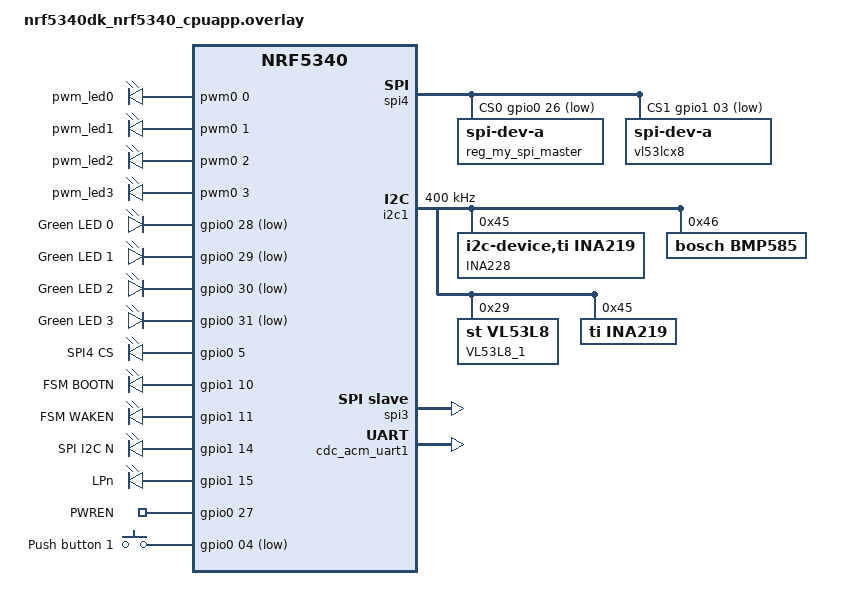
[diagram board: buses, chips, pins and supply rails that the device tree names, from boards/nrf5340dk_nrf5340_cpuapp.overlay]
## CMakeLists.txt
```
#
# Copyright (c) 2018 Nordic Semiconductor
#
# SPDX-License-Identifier: LicenseRef-Nordic-5-Clause
#
cmake_minimum_required(VERSION 3.20.0)

find_package(Zephyr REQUIRED HINTS $ENV{ZEPHYR_BASE})
project(NONE)

# NORDIC SDK APP START
target_sources(app PRIVATE
  src/main.c
)
target_sources(app PRIVATE src/drivers/PWM/pwm_local.c)
target_sources(app PRIVATE src/drivers/SPIM/spim_local.c)
target_sources(app PRIVATE src/drivers/TWIM/twim_local.c)
target_sources(app PRIVATE src/drivers/TWIM/mcu.c)
target_sources(app PRIVATE src/drivers/GPIO_INPUT/gpio_input_local.c)

# Include sensors 
#target_sources(app PRIVATE src/sensors/IMU_CEVA_FSM300/ceva_fsm300.c)
target_sources(app PRIVATE src/commands.c)
target_sources(app PRIVATE src/sensors/IMU_CEVA_FSM300/ceva_fsmSH2.c)
#target_sources(app PRIVATE src/sensors/IMU_CEVA_FSM300/cal_app.c)
#target_sources(app PRIVATE src/sensors/IMU_CEVA_FSM300/demo_app.c)
# Include SH2
#target_sources(app PRIVATE src/sensors/IMU_CEVA_FSM300/sh2/shtp.c)
#target_sources(app PRIVATE src/sensors/IMU_CEVA_FSM300/sh2/sh2.c)
target_sources(app PRIVATE src/sensors/IMU_CEVA_FSM300/sh2/sh2_util.c)
target_sources(app PRIVATE src/sensors/IMU_CEVA_FSM300/sh2/sh2_SensorValue.c)

#Include Power Meter
target_sources(app PRIVATE src/sensors/PowerMeter_TI_INA228/INA228.c)
target_sources(app PRIVATE src/sensors/PowerMeter_TI_INA228/config.c)

#Include Absolute Barometric Pressure Sensor
target_sources(app PRIVATE src/sensors/AbsoluteBarometricPressure_BMP585/common.c)
target_sources(app PRIVATE src/sensors/AbsoluteBarometricPressure_BMP585/BMP5-Sensor-API/bmp5.c)
target_sources(app PRIVATE src/sensors/AbsoluteBarometricPressure_BMP585/read_sensor_data_normal_mode.c)

#Include TOF sensor
target_sources(app PRIVATE src/sensors/TOF_ST_VL53L8/tof_vl53l8.c)
target_sources(app PRIVATE src/sensors/TOF_ST_VL53L8/VL53L8CX_ULD_driver_1.2.1/Platform/platform.c)

#target_sources(app PRIVATE src/sensors/TOF_ST_VL53L8/VL53LMZ_ULD_v2.0.10/VL53LMZ_ULD_API/src/vl53lmz_api.c)
#target_sources(app PRIVATE src/sensors/TOF_ST_VL53L8/VL53LMZ_ULD_v2.0.10/VL53LMZ_ULD_API/src/vl53lmz_plugin_cnh.c)
#target_sources(app PRIVATE src/sensors/TOF_ST_VL53L8/VL53LMZ_ULD_v2.0.10/VL53LMZ_ULD_API/src/vl53lmz_plugin_detection_thresholds.c)
#target_sources(app PRIVATE src/sensors/TOF_ST_VL53L8/VL53LMZ_ULD_v2.0.10/VL53LMZ_ULD_API/src/vl53lmz_plugin_motion_indicator.c)
#target_sources(app PRIVATE src/sensors/TOF_ST_VL53L8/VL53LMZ_ULD_v2.0.10/VL53LMZ_ULD_API/src/vl53lmz_plugin_xtalk.c)
#target_sources(app PRIVATE src/sensors/TOF_ST_VL53L8/Example_11_motion_indicator_with_detection_thresholds.c)

target_sources(app PRIVATE src/sensors/TOF_ST_VL53L8/VL53L8CX_ULD_driver_1.2.1/VL53L8CX_ULD_API/src/vl53l8cx_api.c)
target_sources(app PRIVATE src/sensors/TOF_ST_VL53L8/VL53L8CX_ULD_driver_1.2.1/VL53L8CX_ULD_API/src/vl53l8cx_plugin_detection_thresholds.c)
target_sources(app PRIVATE src/sensors/TOF_ST_VL53L8/VL53L8CX_ULD_driver_1.2.1/VL53L8CX_ULD_API/src/vl53l8cx_plugin_motion_indicator.c)
target_sources(app PRIVATE src/sensors/TOF_ST_VL53L8/VL53L8CX_ULD_driver_1.2.1/VL53L8CX_ULD_API/src/vl53l8cx_plugin_xtalk.c)
#target_sources(app PRIVATE src/sensors/TOF_ST_VL53L8/Example_11_motion_indicator_with_detection_thresholds_VL53L8CX.c)
#target_sources(app PRIVATE src/sensors/TOF_ST_VL53L8/Example_1_ranging_basic.c)

# Include UART ASYNC API adapter
target_sources_ifdef(CONFIG_BT_NUS_UART_ASYNC_ADAPTER app PRIVATE
  src/uart_async_adapter.c
)

# NORDIC SDK APP END

zephyr_library_include_directories(.)
```

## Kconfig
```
#
# Copyright (c) 2018 Nordic Semiconductor
#
# SPDX-License-Identifier: LicenseRef-Nordic-5-Clause
#

source "Kconfig.zephyr"

menu "Nordic UART BLE GATT service sample"

config BT_NUS_THREAD_STACK_SIZE
	int "Thread stack size"
	default 1024
	help
	  Stack size used in each of the two threads

config BT_NUS_UART_BUFFER_SIZE
	int "UART payload buffer element size"
	default 40
	help
	  Size of the payload buffer in each RX and TX FIFO element

config BT_NUS_SECURITY_ENABLED
	bool "Enable security"
	default y
	select BT_SMP
	help
	  "Enable BLE security for the UART service"

config BT_NUS_UART_RX_WAIT_TIME
	int "Timeout for UART RX complete event"
	default 50
	help
	  Wait for RX complete event time in milliseconds

config BT_NUS_UART_ASYNC_ADAPTER
	bool "Enable UART async adapter"
	select SERIAL_SUPPORT_ASYNC
	help
	  Enables asynchronous adapter for UART drives that supports only
	  IRQ interface.

endmenu
```

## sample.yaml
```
sample:
  description: Bluetooth Low Energy UART service sample
  name: BLE UART service
tests:
  sample.bluetooth.peripheral_uart:
    build_only: true
    platform_allow: nrf52dk_nrf52832 nrf52833dk_nrf52833 nrf52840dk_nrf52840
      nrf5340dk_nrf5340_cpuapp nrf5340dk_nrf5340_cpuapp_ns thingy53_nrf5340_cpuapp
      thingy53_nrf5340_cpuapp_ns nrf21540dk_nrf52840
    integration_platforms:
      - nrf52dk_nrf52832
      - nrf52833dk_nrf52833
      - nrf52840dk_nrf52840
      - nrf5340dk_nrf5340_cpuapp
      - nrf5340dk_nrf5340_cpuapp_ns
      - thingy53_nrf5340_cpuapp
      - thingy53_nrf5340_cpuapp_ns
      - nrf21540dk_nrf52840
    tags: bluetooth ci_build
  sample.bluetooth.peripheral_uart_cdc:
    build_only: true
    extra_args: OVERLAY_CONFIG=prj_cdc.conf DTC_OVERLAY_FILE="usb.overlay"
    integration_platforms:
      - nrf52840dk_nrf52840
      - nrf52833dk_nrf52833
    platform_allow: nrf52840dk_nrf52840 nrf52833dk_nrf52833
    tags: bluetooth ci_build
  sample.bluetooth.peripheral_uart_minimal:
    build_only: true
    extra_args: OVERLAY_CONFIG=prj_minimal.conf
    integration_platforms:
      - nrf52dk_nrf52810
      - nrf52840dk_nrf52811
      - nrf52833dk_nrf52820
    platform_allow: nrf52dk_nrf52810 nrf52840dk_nrf52811 nrf52833dk_nrf52820
    tags: bluetooth ci_build
  sample.bluetooth.peripheral_uart_ble_rpc:
    build_only: true
    extra_configs:
      - CONFIG_BT_RPC_STACK=y
    integration_platforms:
      - nrf5340dk_nrf5340_cpuapp
    platform_allow: nrf5340dk_nrf5340_cpuapp
    tags: bluetooth ci_build
  sample.bluetooth.peripheral_uart.security_disabled:
    build_only: true
    platform_allow: nrf52dk_nrf52832 nrf52833dk_nrf52833 nrf52840dk_nrf52840
      nrf5340dk_nrf5340_cpuapp nrf5340dk_nrf5340_cpuapp_ns thingy53_nrf5340_cpuapp
      thingy53_nrf5340_cpuapp_ns nrf21540dk_nrf52840
    integration_platforms:
      - nrf52840dk_nrf52840
    tags: bluetooth ci_build
    extra_configs:
      - CONFIG_BT_NUS_SECURITY_ENABLED=n
```

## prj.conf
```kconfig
#
# Copyright (c) 2018 Nordic Semiconductor
#
# SPDX-License-Identifier: LicenseRef-Nordic-5-Clause
#

# Enable the UART driver
CONFIG_UART_ASYNC_API=y
CONFIG_NRFX_UARTE0=y
CONFIG_SERIAL=y

CONFIG_GPIO=y

# Make sure printk is printing to the UART console
CONFIG_CONSOLE=y
CONFIG_UART_CONSOLE=y

#CONFIG_HEAP_MEM_POOL_SIZE=32768
CONFIG_HEAP_MEM_POOL_SIZE=65536

CONFIG_BT=y
CONFIG_BT_PERIPHERAL=y
CONFIG_BT_DEVICE_NAME="Nordic_UART_Service"
CONFIG_BT_DEVICE_APPEARANCE=833
CONFIG_BT_MAX_CONN=1
CONFIG_BT_MAX_PAIRED=1

# Enable the NUS service
CONFIG_BT_NUS=y

# Enable bonding
CONFIG_BT_SETTINGS=y
CONFIG_FLASH=y
CONFIG_FLASH_PAGE_LAYOUT=y
CONFIG_FLASH_MAP=y
CONFIG_NVS=y
CONFIG_SETTINGS=y

# Enable DK LED and Buttons library
CONFIG_DK_LIBRARY=y

# This example requires more workqueue stack
CONFIG_SYSTEM_WORKQUEUE_STACK_SIZE=32768
CONFIG_MAIN_STACK_SIZE=32768

# Config logger
CONFIG_LOG=y
CONFIG_USE_SEGGER_RTT=y
CONFIG_LOG_BACKEND_RTT=y
CONFIG_LOG_BACKEND_UART=y
CONFIG_LOG_PRINTK=n

CONFIG_ASSERT=n

# drivers
CONFIG_PWM=y
CONFIG_I2C=y
CONFIG_NRFX_TWIM1=y
CONFIG_I2C_NRFX_TRANSFER_TIMEOUT=100000
CONFIG_SENSOR=y


CONFIG_PWM_LOG_LEVEL_DBG=y

#SPI
CONFIG_SPI=y
CONFIG_NRFX_SPIM3=y
CONFIG_NRFX_SPIM4=y
CONFIG_SPI_ASYNC=y
CONFIG_SPI_SLAVE=y

#Floating point print
CONFIG_NEWLIB_LIBC=y
CONFIG_NEWLIB_LIBC_FLOAT_PRINTF=y

CONFIG_TIMESLICING=y
CONFIG_TIMESLICE_SIZE=10
CONFIG_TIMESLICE_PRIORITY=0

#CONFIG_FPU=y
#CONFIG_FPU_SHARING=y


CONFIG_DEBUG_COREDUMP=y
CONFIG_DEBUG_COREDUMP_BACKEND_LOGGING=y
```

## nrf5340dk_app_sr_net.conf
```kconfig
#
# Copyright (c) 2022 Nordic Semiconductor
#
# SPDX-License-Identifier: LicenseRef-Nordic-5-Clause
#

CONFIG_MCUBOOT_IMAGE_VERSION="1.0.0+0"
CONFIG_BOOTLOADER_MCUBOOT=y
CONFIG_NRF53_UPGRADE_NETWORK_CORE=y
CONFIG_ADD_MCUBOOT_MEDIATE_SIM_FLASH_DTS=y
```

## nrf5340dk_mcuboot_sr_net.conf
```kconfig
#
# Copyright (c) 2022 Nordic Semiconductor
#
# SPDX-License-Identifier: LicenseRef-Nordic-5-Clause
#

CONFIG_MAIN_STACK_SIZE=10240
# Flash
CONFIG_FLASH=y

# MCUBoot serial
CONFIG_MCUBOOT_SERIAL=y
CONFIG_MCUBOOT_SERIAL_DIRECT_IMAGE_UPLOAD=y

# Decrease memory footprint
CONFIG_CBPRINTF_NANO=y
CONFIG_TIMESLICING=n
CONFIG_BOOT_BANNER=n
CONFIG_CONSOLE=n
CONFIG_CONSOLE_HANDLER=n
CONFIG_UART_CONSOLE=n
CONFIG_RTT_CONSOLE=n
CONFIG_USE_SEGGER_RTT=n
CONFIG_LOG=n
CONFIG_RESET_ON_FATAL_ERROR=n

# The following configurations are required to support serial recovery of the
# network image
CONFIG_PCD_APP=y

CONFIG_FLASH_SIMULATOR=y
CONFIG_FLASH_SIMULATOR_DOUBLE_WRITES=y
CONFIG_FLASH_SIMULATOR_STATS=n

CONFIG_BOOT_IMAGE_ACCESS_HOOKS=y
CONFIG_NRF53_RECOVERY_NETWORK_CORE=y

CONFIG_MCUBOOT_INDICATION_LED=y
```

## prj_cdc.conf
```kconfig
#
# Copyright (c) 2021 Nordic Semiconductor
#
# SPDX-License-Identifier: LicenseRef-Nordic-5-Clause
#

# Enable the UART driver
CONFIG_UART_LINE_CTRL=y
CONFIG_UART_INTERRUPT_DRIVEN=y
CONFIG_BT_NUS_UART_ASYNC_ADAPTER=y
CONFIG_USB_DEVICE_STACK=y
CONFIG_USB_DEVICE_REMOTE_WAKEUP=n
CONFIG_USB_CDC_ACM=y

# Disable the UARTE0 enabled in default project configuration
CONFIG_NRFX_UARTE0=n
CONFIG_UART_NRFX=n
```

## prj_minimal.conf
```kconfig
#
# Copyright (c) 2021 Nordic Semiconductor
#
# SPDX-License-Identifier: LicenseRef-Nordic-5-Clause
#

# Enable the UART driver
CONFIG_UART_ASYNC_API=y
CONFIG_NRFX_UARTE0=y
CONFIG_SERIAL=y

CONFIG_HEAP_MEM_POOL_SIZE=2048

CONFIG_BT=y
CONFIG_BT_PERIPHERAL=y
CONFIG_BT_DEVICE_NAME="Nordic_UART_Service"
CONFIG_BT_DEVICE_APPEARANCE=833
CONFIG_BT_MAX_CONN=1
CONFIG_BT_MAX_PAIRED=1

# Enable the NUS service
CONFIG_BT_NUS=y

# Enable bonding
CONFIG_BT_SETTINGS=y
CONFIG_FLASH=y
CONFIG_FLASH_PAGE_LAYOUT=y
CONFIG_FLASH_MAP=y
CONFIG_NVS=y
CONFIG_SETTINGS=y

# Enable DK LED and Buttons library
CONFIG_DK_LIBRARY=y

# Drivers and peripherals
CONFIG_I2C=n
CONFIG_WATCHDOG=n
CONFIG_PINMUX=n
CONFIG_SPI=n
CONFIG_GPIO=n

# Power management
CONFIG_PM=n

# Interrupts
CONFIG_DYNAMIC_INTERRUPTS=n
CONFIG_IRQ_OFFLOAD=n

# Memory protection
CONFIG_THREAD_STACK_INFO=n
CONFIG_THREAD_CUSTOM_DATA=n
CONFIG_FPU=n

# Boot
CONFIG_BOOT_BANNER=n
CONFIG_BOOT_DELAY=0

# Console
CONFIG_CONSOLE=n
CONFIG_UART_CONSOLE=n
CONFIG_STDOUT_CONSOLE=n
CONFIG_PRINTK=n
CONFIG_EARLY_CONSOLE=n

# Build
CONFIG_SIZE_OPTIMIZATIONS=y

# ARM
CONFIG_ARM_MPU=n

# In order to correctly tune the stack sizes for the threads the following
# Configurations can enabled to print the current use:
#CONFIG_THREAD_NAME=y
#CONFIG_THREAD_ANALYZER=y
#CONFIG_THREAD_ANALYZER_AUTO=y
#CONFIG_THREAD_ANALYZER_RUN_UNLOCKED=y
#CONFIG_THREAD_ANALYZER_USE_PRINTK=y
#CONFIG_CONSOLE=y
#CONFIG_UART_CONSOLE=y
#CONFIG_SERIAL=y
#CONFIG_PRINTK=y

# Example output of thread analyzer
#SDC RX              : unused 800 usage 224 / 1024 (21 %)
#BT ECC              : unused 216 usage 888 / 1104 (80 %)
#BT RX               : unused 1736 usage 464 / 2200 (21 %)
#BT TX               : unused 1008 usage 528 / 1536 (34 %)
#ble_write_thread_id : unused 688 usage 336 / 1024 (32 %)
#sysworkq            : unused 1912 usage 136 / 2048 (6 %)
#MPSL signal         : unused 928 usage 96 / 1024 (9 %)
#idle 00             : unused 224 usage 96 / 320 (30 %)
#main                : unused 568 usage 456 / 1024 (44 %)
CONFIG_BT_RX_STACK_SIZE=1024
CONFIG_BT_HCI_TX_STACK_SIZE_WITH_PROMPT=y
CONFIG_BT_HCI_TX_STACK_SIZE=640
CONFIG_SYSTEM_WORKQUEUE_STACK_SIZE=512
CONFIG_MPSL_WORK_STACK_SIZE=256
CONFIG_MAIN_STACK_SIZE=640
CONFIG_IDLE_STACK_SIZE=128
CONFIG_ISR_STACK_SIZE=1024
CONFIG_BT_NUS_THREAD_STACK_SIZE=512

# Disable features not needed
CONFIG_TIMESLICING=n
CONFIG_MINIMAL_LIBC_MALLOC=n
CONFIG_LOG=n
CONFIG_ASSERT=n

# Disable Bluetooth features not needed
CONFIG_BT_DEBUG_NONE=y
CONFIG_BT_ASSERT=n
CONFIG_BT_DATA_LEN_UPDATE=n
CONFIG_BT_PHY_UPDATE=n
CONFIG_BT_GATT_CACHING=n
CONFIG_BT_GATT_SERVICE_CHANGED=n
CONFIG_BT_GAP_PERIPHERAL_PREF_PARAMS=n
CONFIG_BT_SETTINGS_CCC_LAZY_LOADING=y
CONFIG_BT_HCI_VS_EXT=n

# Disable Bluetooth controller features not needed
CONFIG_BT_CTLR_PRIVACY=n
CONFIG_BT_CTLR_PHY_2M=n

# Reduce Bluetooth buffers
CONFIG_BT_BUF_EVT_DISCARDABLE_COUNT=1
CONFIG_BT_BUF_EVT_DISCARDABLE_SIZE=43
CONFIG_BT_BUF_EVT_RX_COUNT=2

CONFIG_BT_CONN_TX_MAX=2
CONFIG_BT_L2CAP_TX_BUF_COUNT=2
CONFIG_BT_CTLR_RX_BUFFERS=1
CONFIG_BT_BUF_ACL_TX_COUNT=3
CONFIG_BT_BUF_ACL_TX_SIZE=27
```

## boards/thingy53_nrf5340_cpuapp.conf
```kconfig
#
# Copyright (c) 2021 Nordic Semiconductor ASA
#
# SPDX-License-Identifier: LicenseRef-Nordic-5-Clause
#
################################################################################
# Application overlay - Thingy:53 DFU

CONFIG_NCS_SAMPLE_MCUMGR_BT_OTA_DFU=y
CONFIG_MCUBOOT_IMAGE_VERSION="2.3.0+0"

CONFIG_SYSTEM_WORKQUEUE_STACK_SIZE=4096

################################################################################
# Configure USB CDC ACM

CONFIG_USB_DEVICE_PRODUCT="Thingy:53 Nordic UART Service sample"
CONFIG_USB_DEVICE_PID=0x530E
CONFIG_USB_COMPOSITE_DEVICE=y

# Enable back logging over UART as this sample config uses only RTT by default
CONFIG_LOG_BACKEND_UART=y

CONFIG_BT_NUS_UART_ASYNC_ADAPTER=y
CONFIG_UART_INTERRUPT_DRIVEN=y

# Disable the UARTE0 enabled in default project configuration
CONFIG_NRFX_UARTE0=n
CONFIG_UART_NRFX=n
```

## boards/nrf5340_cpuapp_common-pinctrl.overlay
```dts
&pinctrl {
	pwm0_default: pwm0_default {
		group1 {
			psels = <NRF_PSEL(PWM_OUT0, 1, 6)>,
					<NRF_PSEL(PWM_OUT1, 1, 7)>,
					<NRF_PSEL(PWM_OUT2, 1, 8)>,
					<NRF_PSEL(PWM_OUT3, 1, 9)>;
		};
	};

	pwm0_sleep: pwm0_sleep {
		group1 {
			psels = <NRF_PSEL(PWM_OUT0, 1, 6)>,
					<NRF_PSEL(PWM_OUT1, 1, 7)>,
					<NRF_PSEL(PWM_OUT2, 1, 8)>,
					<NRF_PSEL(PWM_OUT3, 1, 9)>;  
			low-power-enable;
		};
	};
	spi4_default: spi4_default {
		group1 {
			psels = <NRF_PSEL(SPIM_SCK, 1, 15)>,
				<NRF_PSEL(SPIM_MISO, 1, 14)>,
				<NRF_PSEL(SPIM_MOSI, 1, 13)>;
		};
	};

	spi4_sleep: spi4_sleep {
		group1 {
			psels = <NRF_PSEL(SPIM_SCK, 1, 15)>,
				<NRF_PSEL(SPIM_MISO, 1, 14)>,
				<NRF_PSEL(SPIM_MOSI, 1, 13)>;
			low-power-enable;
		};
	};

	spi_master_default: spi_master_default {
		group1 {
			psels = <NRF_PSEL(SPIM_SCK, 0, 6)>,
					<NRF_PSEL(SPIM_MOSI, 0, 7)>,
					<NRF_PSEL(SPIM_MISO, 0, 25)>;
		};
	};

	spi_master_sleep: spi_master_sleep {
		group1 {
			psels = <NRF_PSEL(SPIM_SCK, 0, 6)>,
					<NRF_PSEL(SPIM_MOSI, 0, 7)>,
					<NRF_PSEL(SPIM_MISO, 0, 25)>;
			low-power-enable;
		};
	};

	spi_slave_default: spi_slave_default {
		group1 {
			psels = <NRF_PSEL(SPIS_SCK, 1, 5)>,
					<NRF_PSEL(SPIS_MOSI, 1, 4)>,
					<NRF_PSEL(SPIS_MISO, 1, 1)>,
					<NRF_PSEL(SPIS_CSN, 1, 0)>;
		};
	};

	spi_slave_sleep: spi_slave_sleep {
		group1 {
			psels = <NRF_PSEL(SPIS_SCK, 1, 5)>,
					<NRF_PSEL(SPIS_MOSI, 1, 4)>,
					<NRF_PSEL(SPIS_MISO, 1, 1)>,
					<NRF_PSEL(SPIS_CSN, 1, 0)>;
			low-power-enable;
		};
	};

	i2c1_default {
		group1 {
			psels = <NRF_PSEL(TWIM_SCL, 1, 12)>,
					<NRF_PSEL(TWIM_SDA, 1, 13)>;
		};
	};
};
```

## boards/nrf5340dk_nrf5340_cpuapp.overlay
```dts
/*
 * Copyright (c) 2019-2020 Nordic Semiconductor ASA
 *
 * SPDX-License-Identifier: Apache-2.0
 */
 #include "nrf5340_cpuapp_common-pinctrl.overlay"

/ {
     pwmleds {
         compatible = "pwm-leds";
         pwm_led0: pwm_led_0 {
             pwms = <&pwm0 0 PWM_MSEC(20) PWM_POLARITY_NORMAL>;
         };
         pwm_led1: pwm_led_1 {
             pwms = <&pwm0 1 PWM_MSEC(20) PWM_POLARITY_NORMAL>;
         };
         pwm_led2: pwm_led_2 {
             pwms = <&pwm0 2 PWM_MSEC(20) PWM_POLARITY_NORMAL>;
         };
         pwm_led3: pwm_led_3 {
             pwms = <&pwm0 3 PWM_MSEC(20) PWM_POLARITY_NORMAL>;
         };
     };

	leds {
		compatible = "gpio-leds";
		led0: led_0 {
			gpios = <&gpio0 28 GPIO_ACTIVE_LOW>;
			label = "Green LED 0";
		};
		led1: led_1 {
			gpios = <&gpio0 29 GPIO_ACTIVE_LOW>;
			label = "Green LED 1";
		};
		led2: led_2 {
			gpios = <&gpio0 30 GPIO_ACTIVE_LOW>;
			label = "Green LED 2";
		};
		led3: led_3 {
			gpios = <&gpio0 31 GPIO_ACTIVE_LOW>;
			label = "Green LED 3";
		};
	};

    cs {
		compatible = "gpio-leds";
        spi4_cs: spi4_cs {
            gpios = <&gpio0 5 GPIO_ACTIVE_HIGH>;	/* D9 */
            label = "SPI4 CS";
        };
    };

	bootn {
		compatible = "gpio-leds";
		fsmbootn: fsmbootn {
			gpios = <&gpio1 10 GPIO_ACTIVE_HIGH>;	/* D8 */
			label = "FSM BOOTN";
		};
	};

	waken {
		compatible = "gpio-leds";
		fsmwaken: fsmwaken {
			gpios = <&gpio1 11 GPIO_ACTIVE_HIGH>;	/* D7 */
			label = "FSM WAKEN";
		};
	};

	spi_i2c_n {
		compatible = "gpio-leds";
		spi_i2c_n: spi_i2c_n {
			gpios = <&gpio1 14 GPIO_ACTIVE_HIGH>;	/* D6 */
			label = "SPI I2C N";
		};
	};

	LPn {
		compatible = "gpio-leds";
		LPn: LPn {
			gpios = <&gpio1 15 GPIO_ACTIVE_HIGH>;	/* D5 */
			label = "LPn";
		};
	};

	pwren {
		compatible = "gpio-leds";
		pwren: pwren {
			gpios = <&gpio0 27 GPIO_ACTIVE_HIGH>;	/* D4 */
			label = "PWREN";
		};
	};
    
    buttons {
		compatible = "gpio-keys";
		button0: button_0 {
			gpios = <&gpio0 04 (GPIO_PULL_UP | GPIO_ACTIVE_LOW)>;
			label = "Push button 1";
        };
    };

    chosen {
		nordic,nus-uart = &uart0;
	};
    
     aliases {
        pwm-led0 = &pwm_led0;
        pwm-led1 = &pwm_led1;
        pwm-led2 = &pwm_led2;
        pwm-led3 = &pwm_led3;
        spi4-cs = &spi4_cs;
		fsmrstn = &spi4_cs;
		fsmbootn = &fsmbootn;
		fsmwaken = &fsmwaken;
		sw0 = &button0;
        led2 = &led2;
		spii2cn = &spi_i2c_n;
		lpn = &LPn;
		pwren = &pwren;
     };

};

arduino_spi: &spi4 {
	compatible = "nordic,nrf-spim";
	status = "okay";
	//cs-gpios = <&arduino_header 16 GPIO_ACTIVE_LOW>; /* D10 */
	cs-gpios = <&arduino_header 14 GPIO_ACTIVE_LOW>; /* D10 */
	pinctrl-0 = <&spi4_default>;
	pinctrl-1 = <&spi4_sleep>;
	pinctrl-names = "default", "sleep";
};
/*
&i2c1 {  
    clock-frequency = <I2C_BITRATE_STANDARD>;
    mysensor: mysensor@4a{
        compatible = "i2c-device";
        status = "okay";
        reg = < 0x4a >;
    };
};
*/
&i2c1 {
	status = "okay";
    compatible = "nordic,nrf-twim";
	clock-frequency = <I2C_BITRATE_FAST>;
    pinctrl-0 = <&i2c1_default>;

	ina228:ina228@45 {
		status = "okay";
		compatible = "i2c-device,ti,ina219";
		reg = <0x45>;
		brng = <0>;
		pg = <0>;
		sadc = <13>;
		badc = <13>;
		shunt-milliohm = <100>;
		lsb-microamp = <10>;
		label = "INA228";
	};

	bmp585: bmp585@46 {
		status = "okay";
		compatible = "bosch,bmp585";
		reg = <0x46>;
		label = "BMP585";
	};
	
	vl53l8_1: vl53l8_1@29 {
		status = "okay";
		compatible = "st,vl53l8";
		reg = <0x29>;
		label = "VL53L8_1";
		//scl-timeout-us = <100000000>;
	};
	
	ina219: ina219@45 {
		status = "okay";
		compatible = "ti,ina219";
		reg = <0x45>;
		brng = <0>;
		pg = <0>;
		sadc = <13>;
		badc = <13>;
		shunt-milliohm = <100>;
		lsb-microamp = <10>;
		label = "INA219";
	};
};



my_spi_master: &spi4 {
	compatible = "nordic,nrf-spim";
	status = "okay";
	pinctrl-0 = <&spi_master_default>;
	pinctrl-1 = <&spi_master_sleep>;
	pinctrl-names = "default", "sleep";
	cs-gpios = <&gpio0 26 GPIO_ACTIVE_LOW>, <&gpio1 03 GPIO_ACTIVE_LOW >;
	reg_my_spi_master:  spi-dev-a@0 {
		reg = <0>;
	};
	vl53lcx8:  spi-dev-a@1 {
		reg = <1>;
	};
};

my_spi_slave: &spi3 {
	compatible = "nordic,nrf-spis";
	status = "okay";
	pinctrl-0 = <&spi_slave_default>;
	pinctrl-1 = <&spi_slave_sleep>;
	pinctrl-names = "default", "sleep";
	def-char = <0x00>;
};

&zephyr_udc0 {
	cdc_acm_uart1: cdc_acm_uart1 {
		compatible = "zephyr,cdc-acm-uart";
	};
};

/*
@spi4 {
    mysensor: mysensor@4a {
        compatible = "my,sensor";
        reg = <0x4a>;
        spi-max-frequency = <1000000>;
        label="mysensor";
    };
};
*/
```

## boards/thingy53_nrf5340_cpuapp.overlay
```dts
/*
 * Copyright (c) 2021 Nordic Semiconductor ASA
 *
 * SPDX-License-Identifier: LicenseRef-Nordic-5-Clause
 */

/ {
	chosen {
		nordic,nus-uart = &cdc_acm_uart1;
	};
};

&zephyr_udc0 {
	cdc_acm_uart1: cdc_acm_uart1 {
		compatible = "zephyr,cdc-acm-uart";
	};
};
```

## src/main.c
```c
/*
 * Copyright (c) 2018 Nordic Semiconductor ASA
 *
 * SPDX-License-Identifier: LicenseRef-Nordic-5-Clause
 */

/** @file
 *  @brief Nordic UART Bridge Service (NUS) sample
 */
#include "includes.h"
#include "commands.h"
#include "drivers/PWM/pwm_local.h"
#include "drivers/SPIM/spim_local.h"
#include "drivers/TWIM/twim_local.h"
#include "drivers/GPIO_INPUT/gpio_input_local.h"

/*** include sensors */
// #include "sensors/IMU_CEVA_FSM300/ceva_fsm300.h"
#include "sensors/IMU_CEVA_FSM300/ceva_fsmSH2.h"
#include "sensors/PowerMeter_TI_INA228/INA228.h"
#include "sensors/AbsoluteBarometricPressure_BMP585/common.h"
#include "sensors/TOF_ST_VL53L8/tof_vl53l8.h"

#define SLEEP_TIME_MS 1

#define LOG_MODULE_NAME peripheral_uart
LOG_MODULE_REGISTER(LOG_MODULE_NAME, LOG_LEVEL_DBG);

#define STACKSIZE CONFIG_BT_NUS_THREAD_STACK_SIZE
#define PRIORITY 6

#define DEVICE_NAME CONFIG_BT_DEVICE_NAME
#define DEVICE_NAME_LEN (sizeof(DEVICE_NAME) - 1)

#define RUN_STATUS_LED DK_LED1
#define RUN_LED_BLINK_INTERVAL 1000

#define CON_STATUS_LED DK_LED2

#define KEY_PASSKEY_ACCEPT DK_BTN1_MSK
#define KEY_PASSKEY_REJECT DK_BTN2_MSK

#define UART_BUF_SIZE CONFIG_BT_NUS_UART_BUFFER_SIZE
#define UART_WAIT_FOR_BUF_DELAY K_MSEC(50)
#define UART_WAIT_FOR_RX CONFIG_BT_NUS_UART_RX_WAIT_TIME

static K_SEM_DEFINE(ble_init_ok, 0, 1);

static struct bt_conn *current_conn;
static struct bt_conn *auth_conn;

static const struct device *uart = DEVICE_DT_GET(DT_CHOSEN(nordic_nus_uart));
static struct k_work_delayable uart_work;

struct uart_data_t
{
	void *fifo_reserved;
	uint8_t data[UART_BUF_SIZE];
	uint16_t len;
};

static K_FIFO_DEFINE(fifo_uart_tx_data);
static K_FIFO_DEFINE(fifo_uart_rx_data);

static const struct bt_data ad[] = {
	BT_DATA_BYTES(BT_DATA_FLAGS, (BT_LE_AD_GENERAL | BT_LE_AD_NO_BREDR)),
	BT_DATA(BT_DATA_NAME_COMPLETE, DEVICE_NAME, DEVICE_NAME_LEN),
};

static const struct bt_data sd[] = {
	BT_DATA_BYTES(BT_DATA_UUID128_ALL, BT_UUID_NUS_VAL),
};

#if CONFIG_BT_NUS_UART_ASYNC_ADAPTER
UART_ASYNC_ADAPTER_INST_DEFINE(async_adapter);
#else
static const struct device *const async_adapter;
#endif

static void uart_cb(const struct device *dev, struct uart_event *evt, void *user_data)
{
	ARG_UNUSED(dev);

	static size_t aborted_len;
	struct uart_data_t *buf;
	static uint8_t *aborted_buf;
	static bool disable_req;

	switch (evt->type)
	{
	case UART_TX_DONE:
		LOG_DBG("UART_TX_DONE");
		if ((evt->data.tx.len == 0) ||
			(!evt->data.tx.buf))
		{
			return;
		}

		if (aborted_buf)
		{
			buf = CONTAINER_OF(aborted_buf, struct uart_data_t,
							   data);
			aborted_buf = NULL;
			aborted_len = 0;
		}
		else
		{
			buf = CONTAINER_OF(evt->data.tx.buf, struct uart_data_t,
							   data);
		}

		k_free(buf);

		buf = k_fifo_get(&fifo_uart_tx_data, K_NO_WAIT);
		if (!buf)
		{
			return;
		}

		if (uart_tx(uart, buf->data, buf->len, SYS_FOREVER_MS))
		{
			LOG_WRN("Failed to send data over UART");
		}

		break;

	case UART_RX_RDY:
		LOG_DBG("UART_RX_RDY");
		buf = CONTAINER_OF(evt->data.rx.buf, struct uart_data_t, data);
		buf->len += evt->data.rx.len;

		if (disable_req)
		{
			return;
		}

		if ((evt->data.rx.buf[buf->len - 1] == '\n') ||
			(evt->data.rx.buf[buf->len - 1] == '\r'))
		{
			disable_req = true;
			uart_rx_disable(uart);
		}

		break;

	case UART_RX_DISABLED:
		LOG_DBG("UART_RX_DISABLED");
		disable_req = false;

		buf = k_malloc(sizeof(*buf));
		if (buf)
		{
			buf->len = 0;
		}
		else
		{
			LOG_WRN("Not able to allocate UART receive buffer");
			k_work_reschedule(&uart_work, UART_WAIT_FOR_BUF_DELAY);
			return;
		}

		uart_rx_enable(uart, buf->data, sizeof(buf->data),
					   UART_WAIT_FOR_RX);

		break;

	case UART_RX_BUF_REQUEST:
		LOG_DBG("UART_RX_BUF_REQUEST");
		buf = k_malloc(sizeof(*buf));
		if (buf)
		{
			buf->len = 0;
			uart_rx_buf_rsp(uart, buf->data, sizeof(buf->data));
		}
		else
		{
			LOG_WRN("Not able to allocate UART receive buffer");
		}

		break;

	case UART_RX_BUF_RELEASED:
		LOG_DBG("UART_RX_BUF_RELEASED");
		buf = CONTAINER_OF(evt->data.rx_buf.buf, struct uart_data_t,
						   data);

		if (buf->len > 0)
		{
			k_fifo_put(&fifo_uart_rx_data, buf);
		}
		else
		{
			k_free(buf);
		}

		break;

	case UART_TX_ABORTED:
		LOG_DBG("UART_TX_ABORTED");
		if (!aborted_buf)
		{
			aborted_buf = (uint8_t *)evt->data.tx.buf;
		}

		aborted_len += evt->data.tx.len;
		buf = CONTAINER_OF(aborted_buf, struct uart_data_t,
						   data);

		uart_tx(uart, &buf->data[aborted_len],
				buf->len - aborted_len, SYS_FOREVER_MS);

		break;

	default:
		break;
	}
}

static void uart_work_handler(struct k_work *item)
{
	struct uart_data_t *buf;

	buf = k_malloc(sizeof(*buf));
	if (buf)
	{
		buf->len = 0;
	}
	else
	{
		LOG_WRN("Not able to allocate UART receive buffer");
		k_work_reschedule(&uart_work, UART_WAIT_FOR_BUF_DELAY);
		return;
	}

	uart_rx_enable(uart, buf->data, sizeof(buf->data), UART_WAIT_FOR_RX);
}

static bool uart_test_async_api(const struct device *dev)
{
	const struct uart_driver_api *api =
		(const struct uart_driver_api *)dev->api;

	return (api->callback_set != NULL);
}

static int uart_init(void)
{
	int err;
	int pos;
	struct uart_data_t *rx;
	struct uart_data_t *tx;

	if (!device_is_ready(uart))
	{
		return -ENODEV;
	}

	if (IS_ENABLED(CONFIG_USB_DEVICE_STACK))
	{
		err = usb_enable(NULL);
		if (err && (err != -EALREADY))
		{
			LOG_ERR("Failed to enable USB");
			return err;
		}
	}

	rx = k_malloc(sizeof(*rx));
	if (rx)
	{
		rx->len = 0;
	}
	else
	{
		return -ENOMEM;
	}

	k_work_init_delayable(&uart_work, uart_work_handler);

	if (IS_ENABLED(CONFIG_BT_NUS_UART_ASYNC_ADAPTER) && !uart_test_async_api(uart))
	{
		/* Implement API adapter */
		uart_async_adapter_init(async_adapter, uart);
		uart = async_adapter;
	}

	err = uart_callback_set(uart, uart_cb, NULL);
	if (err)
	{
		k_free(rx);
		LOG_ERR("Cannot initialize UART callback");
		return err;
	}

	if (IS_ENABLED(CONFIG_UART_LINE_CTRL))
	{
		LOG_INF("Wait for DTR");
		while (true)
		{
			uint32_t dtr = 0;

			uart_line_ctrl_get(uart, UART_LINE_CTRL_DTR, &dtr);
			if (dtr)
			{
				break;
			}
			/* Give CPU resources to low priority threads. */
			k_sleep(K_MSEC(100));
		}
		LOG_INF("DTR set");
		err = uart_line_ctrl_set(uart, UART_LINE_CTRL_DCD, 1);
		if (err)
		{
			LOG_WRN("Failed to set DCD, ret code %d", err);
		}
		err = uart_line_ctrl_set(uart, UART_LINE_CTRL_DSR, 1);
		if (err)
		{
			LOG_WRN("Failed to set DSR, ret code %d", err);
		}
	}

	tx = k_malloc(sizeof(*tx));

	if (tx)
	{
		pos = snprintf(tx->data, sizeof(tx->data),
					   "Starting Bluetooth LE Drone service\r\n");

		if ((pos < 0) || (pos >= sizeof(tx->data)))
		{
			k_free(rx);
			k_free(tx);
			LOG_ERR("snprintf returned %d", pos);
			return -ENOMEM;
		}

		tx->len = pos;
	}
	else
	{
		k_free(rx);
		return -ENOMEM;
	}

	err = uart_tx(uart, tx->data, tx->len, SYS_FOREVER_MS);
	if (err)
	{
		k_free(rx);
		k_free(tx);
		LOG_ERR("Cannot display welcome message (err: %d)", err);
		return err;
	}

	err = uart_rx_enable(uart, rx->data, sizeof(rx->data), 50);
	if (err)
	{
		LOG_ERR("Cannot enable uart reception (err: %d)", err);
		/* Free the rx buffer only because the tx buffer will be handled in the callback */
		k_free(rx);
	}

	return err;
}

static void connected(struct bt_conn *conn, uint8_t err)
{
	char addr[BT_ADDR_LE_STR_LEN];

	if (err)
	{
		LOG_ERR("Connection failed (err %u)", err);
		return;
	}

	bt_addr_le_to_str(bt_conn_get_dst(conn), addr, sizeof(addr));
	LOG_INF("Connected %s", addr);

	current_conn = bt_conn_ref(conn);

	dk_set_led_on(CON_STATUS_LED);
}

static void disconnected(struct bt_conn *conn, uint8_t reason)
{
	char addr[BT_ADDR_LE_STR_LEN];

	bt_addr_le_to_str(bt_conn_get_dst(conn), addr, sizeof(addr));

	LOG_INF("Disconnected: %s (reason %u)", addr, reason);

	if (auth_conn)
	{
		bt_conn_unref(auth_conn);
		auth_conn = NULL;
	}

	if (current_conn)
	{
		bt_conn_unref(current_conn);
		current_conn = NULL;
		dk_set_led_off(CON_STATUS_LED);
	}
}

#ifdef CONFIG_BT_NUS_SECURITY_ENABLED
static void security_changed(struct bt_conn *conn, bt_security_t level,
							 enum bt_security_err err)
{
	char addr[BT_ADDR_LE_STR_LEN];

	bt_addr_le_to_str(bt_conn_get_dst(conn), addr, sizeof(addr));

	if (!err)
	{
		LOG_INF("Security changed: %s level %u", addr, level);
	}
	else
	{
		LOG_WRN("Security failed: %s level %u err %d", addr,
				level, err);
	}
}
#endif

BT_CONN_CB_DEFINE(conn_callbacks) = {
	.connected = connected,
	.disconnected = disconnected,
#ifdef CONFIG_BT_NUS_SECURITY_ENABLED
	.security_changed = security_changed,
#endif
};

#if defined(CONFIG_BT_NUS_SECURITY_ENABLED)
static void auth_passkey_display(struct bt_conn *conn, unsigned int passkey)
{
	char addr[BT_ADDR_LE_STR_LEN];

	bt_addr_le_to_str(bt_conn_get_dst(conn), addr, sizeof(addr));

	LOG_INF("Passkey for %s: %06u", addr, passkey);
}

static void auth_passkey_confirm(struct bt_conn *conn, unsigned int passkey)
{
	char addr[BT_ADDR_LE_STR_LEN];

	auth_conn = bt_conn_ref(conn);

	bt_addr_le_to_str(bt_conn_get_dst(conn), addr, sizeof(addr));

	LOG_INF("Passkey for %s: %06u", addr, passkey);
	LOG_INF("Press Button 1 to confirm, Button 2 to reject.");
}

static void auth_cancel(struct bt_conn *conn)
{
	char addr[BT_ADDR_LE_STR_LEN];

	bt_addr_le_to_str(bt_conn_get_dst(conn), addr, sizeof(addr));

	LOG_INF("Pairing cancelled: %s", addr);
}

static void pairing_complete(struct bt_conn *conn, bool bonded)
{
	char addr[BT_ADDR_LE_STR_LEN];

	bt_addr_le_to_str(bt_conn_get_dst(conn), addr, sizeof(addr));

	LOG_INF("Pairing completed: %s, bonded: %d", addr, bonded);
}

static void pairing_failed(struct bt_conn *conn, enum bt_security_err reason)
{
	char addr[BT_ADDR_LE_STR_LEN];

	bt_addr_le_to_str(bt_conn_get_dst(conn), addr, sizeof(addr));

	LOG_INF("Pairing failed conn: %s, reason %d", addr, reason);
}

static struct bt_conn_auth_cb conn_auth_callbacks = {
	.passkey_display = auth_passkey_display,
	.passkey_confirm = auth_passkey_confirm,
	.cancel = auth_cancel,
};

static struct bt_conn_auth_info_cb conn_auth_info_callbacks = {
	.pairing_complete = pairing_complete,
	.pairing_failed = pairing_failed};
#else
static struct bt_conn_auth_cb conn_auth_callbacks;
static struct bt_conn_auth_info_cb conn_auth_info_callbacks;
#endif

static void bt_receive_cb(struct bt_conn *conn, const uint8_t *const data,
						  uint16_t len)
{
	int err;
	char addr[BT_ADDR_LE_STR_LEN] = {0};
	bleISRComplete = false;

	bt_addr_le_to_str(bt_conn_get_dst(conn), addr, ARRAY_SIZE(addr));

	/* free the previous feed and len and reset to clean state */
	if (ble_received_data)
	{
		k_free(ble_received_data);
		ble_received_data = NULL;
		ble_received_data_len = 0;
		commandReceived = false;
	}
	ble_received_data = k_calloc(len, sizeof(uint8_t));
	if (!ble_received_data)
	{
		printk("Not able to allocate BLE receive data buffer");
		return;
	}
	memcpy(ble_received_data, data, len);
	ble_received_data_len = len;
	commandReceived = true;

	LOG_INF("Received data from: %s", addr);

	for (uint16_t pos = 0; pos != len;)
	{
		struct uart_data_t *tx = k_malloc(sizeof(*tx));

		if (!tx)
		{
			LOG_WRN("Not able to allocate UART send data buffer");
			return;
		}

		/* Keep the last byte of TX buffer for potential LF char. */
		size_t tx_data_size = sizeof(tx->data) - 1;

		if ((len - pos) > tx_data_size)
		{
			tx->len = tx_data_size;
		}
		else
		{
			tx->len = (len - pos);
		}

		memcpy(tx->data, &data[pos], tx->len);

		pos += tx->len;

		/* Append the LF character when the CR character triggered
		 * transmission from the peer.
		 */
		if ((pos == len) && (data[len - 1] == '\r'))
		{
			tx->data[tx->len] = '\n';
			tx->len++;
		}

		err = uart_tx(uart, tx->data, tx->len, SYS_FOREVER_MS);
		if (err)
		{
			k_fifo_put(&fifo_uart_tx_data, tx);
		}
	}
	bleISRComplete = true;
}

static struct bt_nus_cb nus_cb = {
	.received = bt_receive_cb,
};

void error(void)
{
	dk_set_leds_state(DK_ALL_LEDS_MSK, DK_NO_LEDS_MSK);

	while (true)
	{
		/* Spin for ever */
		k_sleep(K_MSEC(1000));
	}
}

#ifdef CONFIG_BT_NUS_SECURITY_ENABLED
static void num_comp_reply(bool accept)
{
	if (accept)
	{
		bt_conn_auth_passkey_confirm(auth_conn);
		LOG_INF("Numeric Match, conn %p", (void *)auth_conn);
	}
	else
	{
		bt_conn_auth_cancel(auth_conn);
		LOG_INF("Numeric Reject, conn %p", (void *)auth_conn);
	}

	bt_conn_unref(auth_conn);
	auth_conn = NULL;
}

void button_changed(uint32_t button_state, uint32_t has_changed)
{
	uint32_t buttons = button_state & has_changed;

	if (auth_conn)
	{
		if (buttons & KEY_PASSKEY_ACCEPT)
		{
			num_comp_reply(true);
		}

		if (buttons & KEY_PASSKEY_REJECT)
		{
			num_comp_reply(false);
		}
	}
}
#endif /* CONFIG_BT_NUS_SECURITY_ENABLED */

static void configure_gpio(void)
{
	int err;

#ifdef CONFIG_BT_NUS_SECURITY_ENABLED
	err = dk_buttons_init(button_changed);
	if (err)
	{
		LOG_ERR("Cannot init buttons (err: %d)", err);
	}
#endif /* CONFIG_BT_NUS_SECURITY_ENABLED */

	err = dk_leds_init();
	if (err)
	{
		LOG_ERR("Cannot init LEDs (err: %d)", err);
	}
}

int main(void)
{
	LOG_INF("nRF Connect SDK Fundamentals");
	uint32_t period = MAX_PERIOD;
	int err = 0;
	int ret;

	configure_gpio();
	err = gpio_pin_configure_dt(&fsmbootn, GPIO_OUTPUT);
	// err = gpio_pin_configure_dt(&fsmwaken, GPIO_OUTPUT);
	printk("Set up button at %s pin %d\n", fsmbootn.port->name, fsmbootn.pin);
	if (err)
	{
		LOG_ERR("Cannot configure fsmbootn gpio");
		return err;
	}
	pwm_check_ready();

	// calibratePWM(MAX_PERIOD);
	setDuty(pwm_led0, period, period / 20U);
	setDuty(pwm_led1, period, period / 20U);
	setDuty(pwm_led2, period, period / 20U);
	setDuty(pwm_led3, period, period / 20U);

	spi_init();
	k_msleep(500);

	twim_init();

	/* configure input GPIO to sense IMU interrupt*/
	/**********************************************/

	if (!gpio_is_ready_dt(&button))
	{
		printk("Error: button device %s is not ready\n",
			   button.port->name);
		return 0;
	}

	ret = gpio_pin_configure_dt(&button, GPIO_INPUT);
	if (ret != 0)
	{
		printk("Error %d: failed to configure %s pin %d\n",
			   ret, button.port->name, button.pin);
		return 0;
	}

	/*
	ret = gpio_pin_interrupt_configure_dt(&button,
										  GPIO_INT_EDGE_TO_ACTIVE);
	if (ret != 0)
	{
		printk("Error %d: failed to configure interrupt on %s pin %d\n",
			   ret, button.port->name, button.pin);
		return 0;
	}
	*/
	disableInts();
	gpio_init_callback(&button_cb_data, fsm_interrupt_triggered, BIT(button.pin));
	gpio_add_callback(button.port, &button_cb_data);
	printk("Set up button at %s pin %d\n", button.port->name, button.pin);

	if (led.port && !device_is_ready(led.port))
	{
		printk("Error %d: LED device %s is not ready; ignoring it\n",
			   ret, led.port->name);
		led.port = NULL;
	}
	if (led.port)
	{
		ret = gpio_pin_configure_dt(&led, GPIO_OUTPUT);
		if (ret != 0)
		{
			printk("Error %d: failed to configure LED device %s pin %d\n",
				   ret, led.port->name, led.pin);
			led.port = NULL;
		}
		else
		{
			printk("Set up LED at %s pin %d\n", led.port->name, led.pin);
		}
	}
	/************************************************/

	err = uart_init();
	if (err)
	{
		error();
	}

	if (IS_ENABLED(CONFIG_BT_NUS_SECURITY_ENABLED))
	{
		err = bt_conn_auth_cb_register(&conn_auth_callbacks);
		if (err)
		{
			printk("Failed to register authorization callbacks.\n");
			return 0;
		}

		err = bt_conn_auth_info_cb_register(&conn_auth_info_callbacks);
		if (err)
		{
			printk("Failed to register authorization info callbacks.\n");
			return 0;
		}
	}

	err = bt_enable(NULL);
	if (err)
	{
		error();
	}

	LOG_INF("Bluetooth initialized");

	k_sem_give(&ble_init_ok);

	if (IS_ENABLED(CONFIG_SETTINGS))
	{
		settings_load();
	}

	err = bt_nus_init(&nus_cb);
	if (err)
	{
		LOG_ERR("Failed to initialize UART service (err: %d)", err);
		return 0;
	}

	err = bt_le_adv_start(BT_LE_ADV_CONN, ad, ARRAY_SIZE(ad), sd,
						  ARRAY_SIZE(sd));
	if (err)
	{
		LOG_ERR("Advertising failed to start (err %d)", err);
		return 0;
	}

	// Initialize the demo app (creates FreeRTOS tasks for app)
	// demo_init();
	ret = ceva_fsmSH2_Open();
	// process_command_thread();
	//  FSM_init();
	for (;;)
	{
	//	dk_set_led(RUN_STATUS_LED, (++blink_status) % 2);
	//	k_sleep(K_MSEC(RUN_LED_BLINK_INTERVAL));
		// demo_service();
		/* Interfacting with sensor using SPI */
		// err = gpio_pin_toggle_dt(&spi4_cs);
		// if (err < 0)
		//{
		// return;
		//}
		// k_msleep(SLEEP_TIME_MS);
		// spi_write_test_msg();
		// err = gpio_pin_toggle_dt(&spi4_cs);
		/* end sending info using SPI */

		//sensor_channel_get(dev_i2c1.bus, SENSOR_CHAN_VOLTAGE, &v_bus);
		/*
		uint8_t config[2] = {0x03,0x8C};
		ret = i2c_write_dt(&dev_i2c1, config, sizeof(config));
		if(ret != 0){
			printk("Failed to write to I2C device address %x at reg. %x \n\r", dev_i2c1.addr,config[0]);
		} else {
			printk("Wrote to I2C device address %x at reg. %x \n\r", dev_i2c1.addr,config[0]);
		}
		*/
		k_sleep(K_SECONDS(1U));
	}
	return 0;
}

void ble_write_thread(void)
{
	/* Don't go any further until BLE is initialized */
	k_sem_take(&ble_init_ok, K_FOREVER);

	for (;;)
	{
		/* Wait indefinitely for data to be sent over bluetooth */
		struct uart_data_t *buf = k_fifo_get(&fifo_uart_rx_data,
											 K_FOREVER);

		if (bt_nus_send(NULL, buf->data, buf->len))
		{
			printk("Failed to send data over BLE connection \n");
			LOG_WRN("Failed to send data over BLE connection");
		}

		k_free(buf);
		k_yield();
	}
}

void floattest(void) {

	float f = 0.0;
	int i = 0;
	printf("PI is %f\n", M_PI);
	for (i = 0; i < 100; i++) {
		f = f + 0.1;
		printf("f = %f\n", f);
	}
}

//K_THREAD_DEFINE(floattest_ID, STACKSIZE, floattest, NULL, NULL,
//				NULL, PRIORITY, 0, 0);

K_THREAD_DEFINE(THREAD0_ID, STACKSIZE, process_command, NULL, NULL,
				NULL, PRIORITY, 0, 0);

K_THREAD_DEFINE(process_command_thread_id, STACKSIZE, process_command_thread, NULL, NULL,
				NULL, 7, 0, 0);

K_THREAD_DEFINE(ble_write_thread_id, STACKSIZE, ble_write_thread, NULL, NULL,
				NULL, PRIORITY, 0, 0);

//K_THREAD_DEFINE(FSM_thread_id, STACKSIZE, FSM_thread, NULL, NULL,
//				NULL, PRIORITY, 0, 0);

K_THREAD_DEFINE(Power_monitor_id, STACKSIZE, power_monitor_thread, NULL, NULL,
				NULL, PRIORITY, 0, 0);

//K_THREAD_DEFINE(Barometer_id, STACKSIZE, barometer_normal_mode_thread, NULL, NULL,
//				NULL, PRIORITY, 0, 0);

K_THREAD_DEFINE(TOF_VL53L8, 16384*3, tof_vl5318_thread, NULL, NULL,
				NULL, 5, 0, 0);
```

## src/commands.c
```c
#include "commands.h"

uint8_t *ble_received_data;
uint16_t ble_received_data_len;
bool commandReceived = false;
bool bleISRComplete = false;
static bool testMode = false;

void process_command_thread(void)
{
    printf('process_command_thread \n');
    while (1)
    {
        printk('processCommands \n');
        if (commandReceived)
        {
            commandReceived = false;
            // processCommand(ble_received_data, blen_reciveed_data_len);
            printk('processCommand len %d \n', ble_received_data_len);
        }
        k_msleep(1000);
        k_yield();
    }
}

static uint8_t getPWM(uint8_t *token)
{
    int count = 0;
    while (token != NULL)
    {
        if (count)
        {
            printf("The pwm speed is 0x%x or %d% \n", atoi(token), atoi(token));
            return atoi(token);
        }
        count++;
        token = strtok(NULL, " ");
    }
}

void process_command(void)
{
    printk("Process command thread\n");
    while (1)
    {
        if (commandReceived && bleISRComplete)
        {
            printf("processCommand len %d \n", ble_received_data_len);
            commandReceived = false;
            bleISRComplete = false;
            if (ble_received_data)
            {
                printf("the data received is %s \n", ble_received_data);
                char *token = strtok(ble_received_data, " ");
                switch (atoi(token))
                {
                case HARD_STOP:
                    printf("the data received is 0x01 - Hard Stop \n");
                    setDuty(pwm_led0, MAX_PERIOD, (MAX_PERIOD / 10U));
                    setDuty(pwm_led1, MAX_PERIOD, (MAX_PERIOD / 10U));
                    setDuty(pwm_led2, MAX_PERIOD, (MAX_PERIOD / 10U));
                    setDuty(pwm_led3, MAX_PERIOD, (MAX_PERIOD / 10U));
                    break;
                case TEST_MODE_ON:
                    printf("Test mode on");
                    testMode = true;
                    break;
                case TEST_MODE_OFF:
                    printf("Test mode off");
                    setDuty(pwm_led0, MAX_PERIOD, MAX_PERIOD / 20U);
                    setDuty(pwm_led1, MAX_PERIOD, MAX_PERIOD / 20U);
                    setDuty(pwm_led2, MAX_PERIOD, MAX_PERIOD / 20U);
                    setDuty(pwm_led3, MAX_PERIOD, MAX_PERIOD / 20U);
                    testMode = false;
                    break;
                case TEST_MOTOR_1:
                    if (testMode)
                    {
                        setDuty(pwm_led0, MAX_PERIOD, (MAX_PERIOD * getPWM(token)) / 100U);
                    }
                    break;
                case TEST_MOTOR_2:
                    if (testMode)
                    {
                        setDuty(pwm_led1, MAX_PERIOD, (MAX_PERIOD * getPWM(token)) / 100U);
                    }
                    break;
                case TEST_MOTOR_3:
                    if (testMode)
                    {
                        setDuty(pwm_led2, MAX_PERIOD, (MAX_PERIOD * getPWM(token)) / 100U);
                    }
                    break;
                case TEST_MOTOR_4:
                    if (testMode)
                    {
                        setDuty(pwm_led3, MAX_PERIOD, (MAX_PERIOD * getPWM(token)) / 100U);
                    }
                    break;
                case FETCH_RAW_READINGS:
                    printf("the data received is 0x02 - Fetch Raw Readings \n");
                    break;
                default:
                    break;
                }
            }
            // processCommand(ble_received_data, blen_reciveed_data_len);
        }
        // k_msleep(1000);
        k_yield();
    }
}
```

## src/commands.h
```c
#include "includes.h"
#include "drivers/PWM/pwm_local.h"

extern uint8_t *ble_received_data;
extern uint16_t ble_received_data_len;
extern bool commandReceived;
extern bool bleISRComplete;

void process_command_thread(void);
void process_command(void);

#define HARD_STOP 0x01
#define FETCH_RAW_READINGS 0x02
#define FETCH_GYRP_READINGS 0x03
#define FETCH_ACCL_READINGS 0x04
#define TEST_MOTOR_1 0x05
#define TEST_MOTOR_2 0x06
#define TEST_MOTOR_3 0x07
#define TEST_MOTOR_4 0x08
#define HOVER 0x09
#define MOVE_RIGHT 0x0A
#define MOVE_LEFT 0x0B
#define MOVE_FORWARD 0x0C
#define MOVE_BACKWARD 0x0D
#define LOWER 0x0E
#define STOP_SENSOR_STREAN 0x0F
#define TOGGLE_LOGGING 0x2f
#define TEST_MODE_ON 0x3f
#define TEST_MODE_OFF 0x4f
```

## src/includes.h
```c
#include <zephyr/types.h>
#include <zephyr/kernel.h>
#include <zephyr/sys/printk.h>
#include <zephyr/device.h>
#include <zephyr/drivers/spi.h>
#include <zephyr/drivers/gpio.h>
#include <zephyr/drivers/i2c.h>
#include <zephyr/drivers/uart.h>

#include <zephyr/bluetooth/bluetooth.h>
#include <zephyr/bluetooth/hci.h>
#include <zephyr/bluetooth/conn.h>
#include <zephyr/bluetooth/uuid.h>
#include <zephyr/bluetooth/gatt.h>

#include <bluetooth/services/nus.h>
#include <dk_buttons_and_leds.h>

#include <zephyr/settings/settings.h>
#include <zephyr/usb/usb_device.h>

#include <zephyr/drivers/sensor.h>

#include <zephyr/device.h>
#include <zephyr/devicetree.h>
#include <soc.h>

#include <stdio.h>

#include <zephyr/logging/log.h>

#define _USE_MATH_DEFINES
#define __BSD_VISIBLE 1
#include  <math.h>
```
